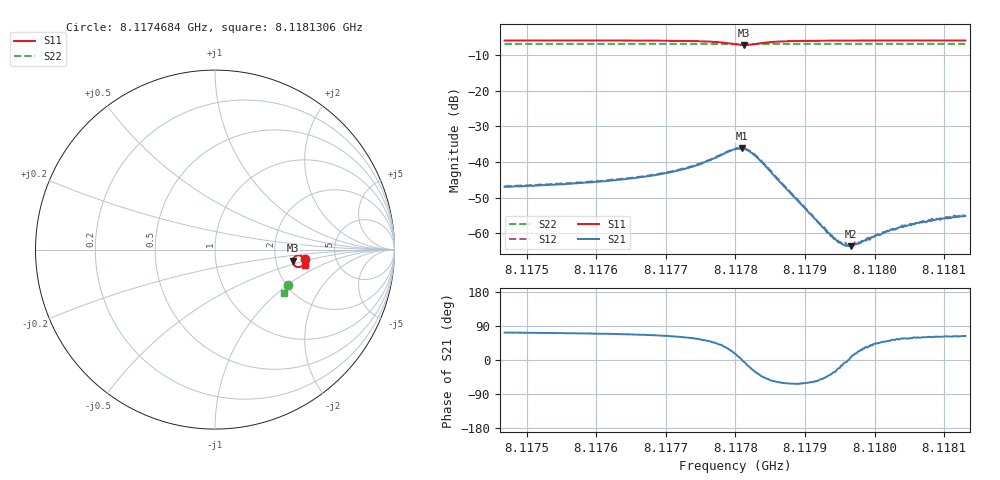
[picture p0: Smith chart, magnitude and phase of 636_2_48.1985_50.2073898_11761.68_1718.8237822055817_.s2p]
#  HZ  S  RI  R  50.00
! Rohde & Schwarz Vector Network Analyzer
! Rohde-Schwarz,ZNB20-2Port,1311601062101988,3.16
! Created: UTC 3/20/2024, 12:04:37 PM
! freq[Hz]  re:S11  im:S11  re:S21  im:S21  re:S12  im:S12  re:S22  im:S22
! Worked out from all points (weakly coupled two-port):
!   401 points, 8.1174684 GHz to 8.1181306 GHz, reference 50 ohm
!   highest |S21| = -36.15 dB at 8.1178094 GHz (marker M1); lowest = -63.6 dB at 8.1179667 GHz (marker M2)
!   lowest |S11| = -7.2 dB at 8.1178127 GHz (marker M3), VSWR 2.55, Z = 124 - j18.8 ohm
!   |S11| at or under -10 dB: nowhere
!   |S22| runs from -6.9 to -6.8 dB; largest |S21 - S12| = 0.00048
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8.11746841e9  0.5041 -0.0518  0.00136 0.00429  0.0014 0.00436  0.4063 -0.1994
8.11757932e9  0.5022 -0.0629  0.00172 0.00482  0.0018 0.00489  0.4033 -0.2063
8.11764885e9  0.4997 -0.0713  0.00226 0.00546  0.00228 0.00553  0.401 -0.211
8.11769023e9  0.4971 -0.078  0.00287 0.00608  0.00294 0.00622  0.3997 -0.2134
8.11774651e9  0.4867 -0.0906  0.00511 0.00757  0.00535 0.00779  0.3973 -0.2175
8.11779948e9  0.4408 -0.0867  0.0145 0.00432  0.0148 0.00457  0.3937 -0.2198
8.11780941e9  0.433 -0.0685  0.0156 0.000181  0.0158 0.000283  0.3933 -0.2195
8.11781272e9  0.433 -0.0612  0.0153 -0.00142  0.0157 -0.00147  0.3934 -0.2194
8.11782266e9  0.4419 -0.0423  0.0126 -0.0052  0.013 -0.00536  0.3938 -0.2193
8.11783424e9  0.4602 -0.0327  0.00853 -0.00665  0.00879 -0.00699  0.3942 -0.2198
8.11786239e9  0.4875 -0.0403  0.00284 -0.0047  0.00294 -0.00482  0.3944 -0.2222
8.11791039e9  0.4985 -0.0573  0.000915 -0.00149  0.000948 -0.00157  0.3933 -0.2257
8.11793688e9  0.4997 -0.0633  0.000725 -0.000569  0.000762 -0.000577  0.3925 -0.2276
8.11794515e9  0.4999 -0.065  0.000707 -0.000368  0.000746 -0.000403  0.3922 -0.2282
8.11795343e9  0.5 -0.0664  0.000687 -0.00018  0.000684 -0.000208  0.3918 -0.2288
8.11796005e9  0.5002 -0.0675  0.000677 -5.38e-05  0.000678 -3.22e-05  0.3916 -0.2292
8.11796667e9  0.5002 -0.0687  0.000657 9.96e-05  0.000707 9.95e-05  0.3913 -0.2297
8.11797992e9  0.5002 -0.0706  0.000666 0.000334  0.000661 0.000333  0.391 -0.2305
8.11798819e9  0.5003 -0.0719  0.000663 0.000458  0.000693 0.000463  0.3907 -0.2312
8.1180213e9  0.5002 -0.0761  0.000691 0.000853  0.000739 0.000863  0.3897 -0.2331
8.11807924e9  0.4995 -0.0826  0.000755 0.00133  0.000748 0.00134  0.3876 -0.2368
8.11813055e9  0.4989 -0.0876  0.000788 0.00158  0.000786 0.00161  0.3858 -0.24
